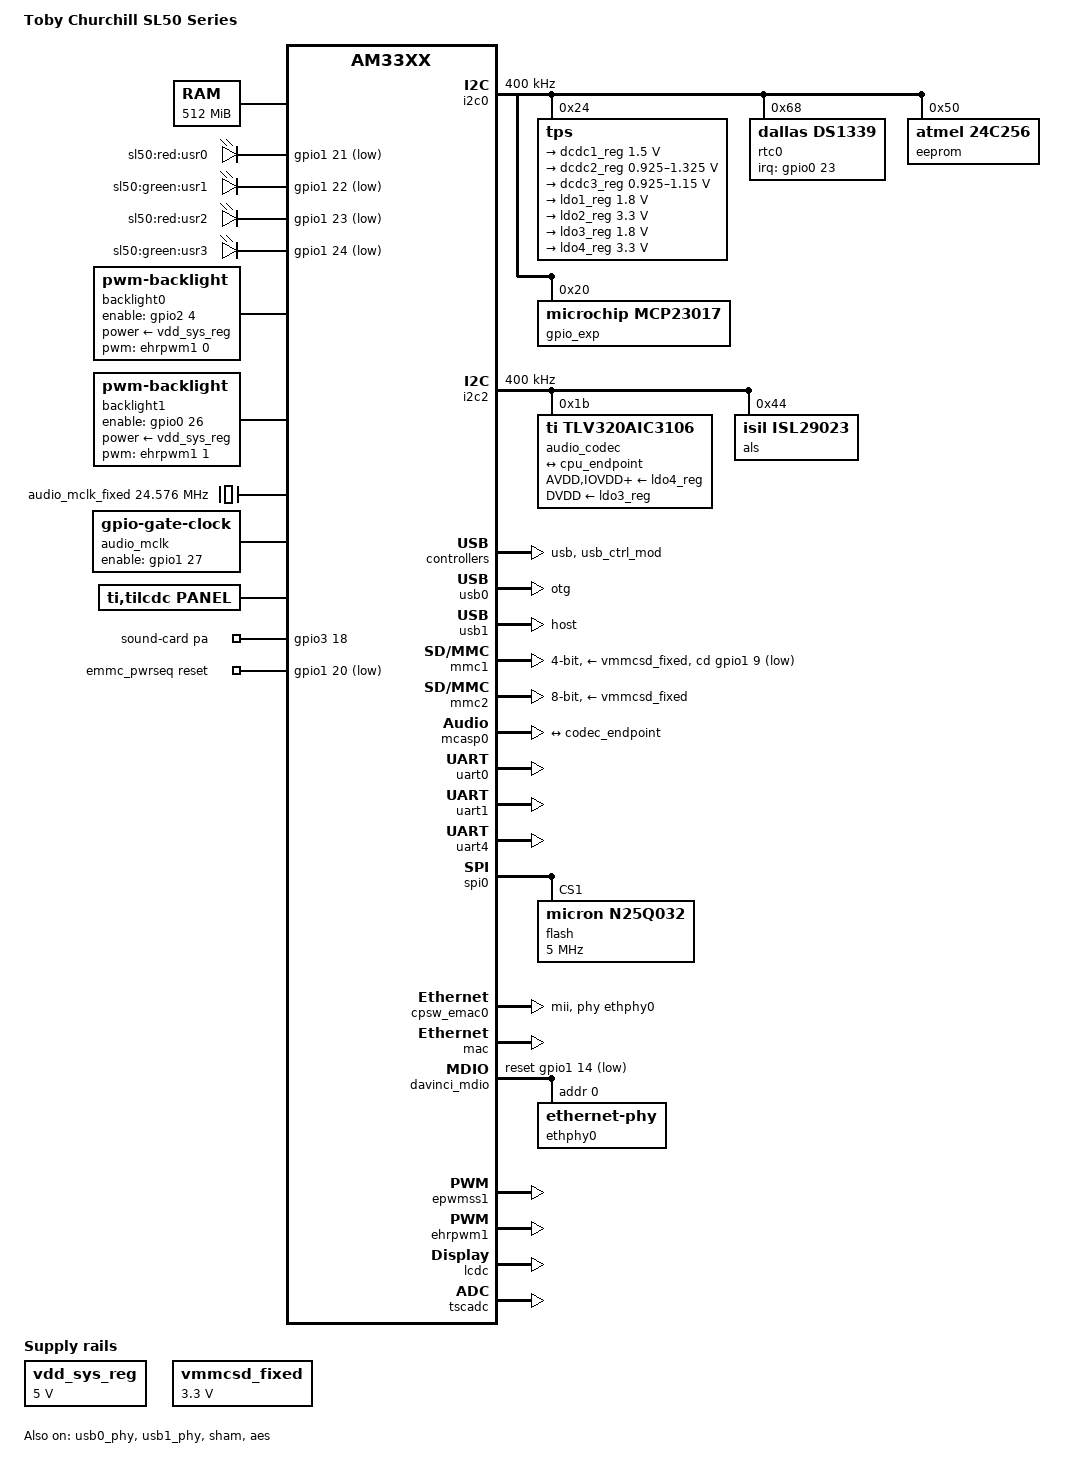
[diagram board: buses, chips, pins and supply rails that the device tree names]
/*
 * Copyright (C) 2015 Toby Churchill - http://www.toby-churchill.com/
 *
 * This program is free software; you can redistribute it and/or modify
 * it under the terms of the GNU General Public License version 2 as
 * published by the Free Software Foundation.
 */
/dts-v1/;

#include "am33xx.dtsi"
#include <dt-bindings/pwm/pwm.h>
#include <dt-bindings/interrupt-controller/irq.h>

/ {
	model = "Toby Churchill SL50 Series";
	compatible = "tcl,am335x-sl50", "ti,am33xx";

	cpus {
		cpu@0 {
			cpu0-supply = <&dcdc2_reg>;
		};
	};

	memory@80000000 {
		device_type = "memory";
		reg = <0x80000000 0x20000000>; /* 512 MB */
	};

	chosen {
		stdout-path = &uart0;
	};

	leds {
		compatible = "gpio-leds";
		pinctrl-names = "default";
		pinctrl-0 = <&led_pins>;

		led0 {
			label = "sl50:red:usr0";
			gpios = <&gpio1 21 GPIO_ACTIVE_LOW>;
			default-state = "off";
		};

		led1 {
			label = "sl50:green:usr1";
			gpios = <&gpio1 22 GPIO_ACTIVE_LOW>;
			default-state = "off";
		};

		led2 {
			label = "sl50:red:usr2";
			gpios = <&gpio1 23 GPIO_ACTIVE_LOW>;
			default-state = "off";
		};

		led3 {
			label = "sl50:green:usr3";
			gpios = <&gpio1 24 GPIO_ACTIVE_LOW>;
			default-state = "off";
		};
	};

	backlight0: disp0 {
		compatible = "pwm-backlight";
		pinctrl-names = "default";
		pinctrl-0 = <&backlight0_pins>;
		pwms = <&ehrpwm1 0 500000 PWM_POLARITY_INVERTED>;
		brightness-levels = < 0  1  2  3  4  5  6  7  8  9
				     10 11 12 13 14 15 16 17 18 19
				     20 21 22 23 24 25 26 27 28 29
				     30 31 32 33 34 35 36 37 38 39
				     40 41 42 43 44 45 46 47 48 49
				     50 51 52 53 54 55 56 57 58 59
				     60 61 62 63 64 65 66 67 68 69
				     70 71 72 73 74 75 76 77 78 79
				     80 81 82 83 84 85 86 87 88 89
				     90 91 92 93 94 95 96 97 98 99
				    100>;
		default-brightness-level = <50>;
		enable-gpios = <&gpio2 4 GPIO_ACTIVE_HIGH>;
		power-supply = <&vdd_sys_reg>;
	};

	backlight1: disp1 {
		compatible = "pwm-backlight";
		pinctrl-names = "default";
		pinctrl-0 = <&backlight1_pins>;
		pwms = <&ehrpwm1 1 500000 PWM_POLARITY_INVERTED>;
		brightness-levels = < 0  1  2  3  4  5  6  7  8  9
				     10 11 12 13 14 15 16 17 18 19
				     20 21 22 23 24 25 26 27 28 29
				     30 31 32 33 34 35 36 37 38 39
				     40 41 42 43 44 45 46 47 48 49
				     50 51 52 53 54 55 56 57 58 59
				     60 61 62 63 64 65 66 67 68 69
				     70 71 72 73 74 75 76 77 78 79
				     80 81 82 83 84 85 86 87 88 89
				     90 91 92 93 94 95 96 97 98 99
				    100>;
		default-brightness-level = <50>;
		enable-gpios = <&gpio0 26 GPIO_ACTIVE_HIGH>;
		power-supply = <&vdd_sys_reg>;
	};

	clocks {
		compatible = "simple-bus";
		#address-cells = <1>;
		#size-cells = <0>;

		/* audio external oscillator */
		audio_mclk_fixed: oscillator@0 {
			compatible = "fixed-clock";
			#clock-cells = <0>;
			clock-frequency  = <24576000>;	/* 24.576MHz */
		};

		audio_mclk: audio_mclk_gate@0 {
			compatible = "gpio-gate-clock";
			#clock-cells = <0>;
			pinctrl-names = "default";
			pinctrl-0 = <&audio_mclk_pins>;
			clocks = <&audio_mclk_fixed>;
			enable-gpios = <&gpio1 27 0>;
		};
	};

	panel: lcd_panel {
		compatible = "ti,tilcdc,panel";
		pinctrl-names = "default";
		pinctrl-0 = <&lcd_pins>;

		panel-info {
			ac-bias = <255>;
			ac-bias-intrpt = <0>;
			dma-burst-sz = <16>;
			bpp = <16>;
			fdd = <0x80>;
			tft-alt-mode = <0>;
			mono-8bit-mode = <0>;
			sync-edge = <0>;
			sync-ctrl = <1>;
			raster-order = <0>;
			fifo-th = <0>;
		};

		display-timings {
			native-mode = <&timing0>;
			timing0: 960x128 {
				clock-frequency = <18000000>;
				hactive = <960>;
				vactive = <272>;

				hback-porch = <40>;
				hfront-porch = <16>;
				hsync-len = <24>;
				hsync-active = <0>;

				vback-porch = <3>;
				vfront-porch = <8>;
				vsync-len = <4>;
				vsync-active = <0>;
			};
		};
	};

	sound {
		compatible = "audio-graph-card";
		label = "sound-card";
		pinctrl-names = "default";
		pinctrl-0 = <&audio_pa_pins>;

		widgets = "Headphone", "Headphone Jack",
			  "Speaker", "Speaker External",
			  "Line", "Line In",
			  "Microphone", "Microphone Jack";

		routing = "Headphone Jack",	"HPLOUT",
			  "Headphone Jack",	"HPROUT",
			  "Amplifier",		"MONO_LOUT",
			  "Speaker External",	"Amplifier",
			  "LINE1R",		"Line In",
			  "LINE1L",		"Line In",
			  "MIC3L",		"Microphone Jack",
			  "MIC3R",		"Microphone Jack",
			  "Microphone Jack",	"Mic Bias";

		dais = <&cpu_port>;

		pa-gpios = <&gpio3 18 GPIO_ACTIVE_HIGH>;
	};

	emmc_pwrseq: pwrseq@0 {
		compatible = "mmc-pwrseq-emmc";
		pinctrl-names = "default";
		pinctrl-0 = <&emmc_pwrseq_pins>;
		reset-gpios = <&gpio1 20 GPIO_ACTIVE_LOW>;
	};

	vdd_sys_reg: regulator@0 {
		compatible = "regulator-fixed";
		regulator-name = "vdd_sys_reg";
		regulator-min-microvolt = <5000000>;
		regulator-max-microvolt = <5000000>;
		regulator-always-on;
	};

	vmmcsd_fixed: fixedregulator0 {
		compatible = "regulator-fixed";
		regulator-name = "vmmcsd_fixed";
		regulator-min-microvolt = <3300000>;
		regulator-max-microvolt = <3300000>;
	};
};

&am33xx_pinmux {
	pinctrl-names = "default";
	pinctrl-0 = <&lwb_pins>;

	audio_pins: pinmux_audio_pins {
		pinctrl-single,pins = <
			AM33XX_IOPAD(0x9ac, PIN_INPUT_PULLDOWN | MUX_MODE0)	/* mcasp0_ahcklx.mcasp0_ahclkx */
			AM33XX_IOPAD(0x994, PIN_INPUT_PULLDOWN | MUX_MODE0)	/* mcasp0_fsx.mcasp0_fsx */
			AM33XX_IOPAD(0x990, PIN_INPUT_PULLDOWN | MUX_MODE0)	/* mcasp0_aclkx.mcasp0_aclkx */
			AM33XX_IOPAD(0x998, PIN_INPUT_PULLDOWN | MUX_MODE0)	/* mcasp0_axr0.mcasp0_axr0 */
			AM33XX_IOPAD(0x99c, PIN_OUTPUT_PULLDOWN | MUX_MODE2)	/* mcasp0_ahclkr.mcasp0_axr2 */
		>;
	};

	audio_pa_pins: pinmux_audio_pa_pins {
		pinctrl-single,pins = <
			AM33XX_IOPAD(0x9a0, PIN_INPUT_PULLDOWN | MUX_MODE7)	/* SoundPA_en - mcasp0_aclkr.gpio3_18 */
		>;
	};

	audio_mclk_pins: pinmux_audio_mclk_pins {
		pinctrl-single,pins = <
			AM33XX_IOPAD(0x86c, PIN_INPUT_PULLDOWN | MUX_MODE7)	/* gpmc_a11.gpio1_27 */
		>;
	};

	backlight0_pins: pinmux_backlight0_pins {
		pinctrl-single,pins = <
			AM33XX_IOPAD(0x898, PIN_OUTPUT | MUX_MODE7)	/* gpmc_wen.gpio2_4 */
		>;
	};

	backlight1_pins: pinmux_backlight1_pins {
		pinctrl-single,pins = <
			AM33XX_IOPAD(0x828, PIN_OUTPUT | MUX_MODE7)     /* gpmc_ad10.gpio0_26 */
		>;
	};

	lcd_pins: pinmux_lcd_pins {
		pinctrl-single,pins = <
			AM33XX_IOPAD(0x8a0, PIN_OUTPUT | MUX_MODE0)	/* lcd_data0.lcd_data0 */
			AM33XX_IOPAD(0x8a4, PIN_OUTPUT | MUX_MODE0)	/* lcd_data1.lcd_data1 */
			AM33XX_IOPAD(0x8a8, PIN_OUTPUT | MUX_MODE0)	/* lcd_data2.lcd_data2 */
			AM33XX_IOPAD(0x8ac, PIN_OUTPUT | MUX_MODE0)	/* lcd_data3.lcd_data3 */
			AM33XX_IOPAD(0x8b0, PIN_OUTPUT | MUX_MODE0)	/* lcd_data4.lcd_data4 */
			AM33XX_IOPAD(0x8b4, PIN_OUTPUT | MUX_MODE0)	/* lcd_data5.lcd_data5 */
			AM33XX_IOPAD(0x8b8, PIN_OUTPUT | MUX_MODE0)	/* lcd_data6.lcd_data6 */
			AM33XX_IOPAD(0x8bc, PIN_OUTPUT | MUX_MODE0)	/* lcd_data7.lcd_data7 */
			AM33XX_IOPAD(0x8c0, PIN_OUTPUT | MUX_MODE0)	/* lcd_data8.lcd_data8 */
			AM33XX_IOPAD(0x8c4, PIN_OUTPUT | MUX_MODE0)	/* lcd_data9.lcd_data9 */
			AM33XX_IOPAD(0x8c8, PIN_OUTPUT | MUX_MODE0)	/* lcd_data10.lcd_data10 */
			AM33XX_IOPAD(0x8cc, PIN_OUTPUT | MUX_MODE0)	/* lcd_data11.lcd_data11 */
			AM33XX_IOPAD(0x8d0, PIN_OUTPUT | MUX_MODE0)	/* lcd_data12.lcd_data12 */
			AM33XX_IOPAD(0x8d4, PIN_OUTPUT | MUX_MODE0)	/* lcd_data13.lcd_data13 */
			AM33XX_IOPAD(0x8d8, PIN_OUTPUT | MUX_MODE0)	/* lcd_data14.lcd_data14 */
			AM33XX_IOPAD(0x8dc, PIN_OUTPUT | MUX_MODE0)	/* lcd_data15.lcd_data15 */
			AM33XX_IOPAD(0x8e0, PIN_OUTPUT_PULLDOWN | MUX_MODE0)	/* lcd_vsync.lcd_vsync */
			AM33XX_IOPAD(0x8e4, PIN_OUTPUT_PULLDOWN | MUX_MODE0)	/* lcd_hsync.lcd_hsync */
			AM33XX_IOPAD(0x8e8, PIN_OUTPUT_PULLDOWN | MUX_MODE0)	/* lcd_pclk.lcd_pclk */
			AM33XX_IOPAD(0x8ec, PIN_OUTPUT_PULLDOWN | MUX_MODE0)	/* lcd_ac_bias_en.lcd_ac_bias_en */
		>;
	};

	led_pins: pinmux_led_pins {
		pinctrl-single,pins = <
			AM33XX_IOPAD(0x854, PIN_OUTPUT | MUX_MODE7)	/* gpmc_a5.gpio1_21 */
			AM33XX_IOPAD(0x858, PIN_OUTPUT | MUX_MODE7)	/* gpmc_a6.gpio1_22 */
			AM33XX_IOPAD(0x85c, PIN_OUTPUT | MUX_MODE7)	/* gpmc_a7.gpio1_23 */
			AM33XX_IOPAD(0x860, PIN_OUTPUT | MUX_MODE7)	/* gpmc_a8.gpio1_24 */
		>;
	};

	uart0_pins: pinmux_uart0_pins {
		pinctrl-single,pins = <
			AM33XX_IOPAD(0x970, PIN_INPUT_PULLUP | MUX_MODE0)	/* uart0_rxd.uart0_rxd */
			AM33XX_IOPAD(0x974, PIN_OUTPUT_PULLDOWN | MUX_MODE0)	/* uart0_txd.uart0_txd */
		>;
	};

	uart1_pins: pinmux_uart1_pins {
		pinctrl-single,pins = <
			AM33XX_IOPAD(0x980, PIN_INPUT_PULLUP | MUX_MODE0)	/* uart1_rxd.uart1_rxd */
			AM33XX_IOPAD(0x984, PIN_OUTPUT_PULLDOWN | MUX_MODE0)	/* uart1_txd.uart1_txd */
		>;
	};

	uart4_pins: pinmux_uart4_pins {
		pinctrl-single,pins = <
			AM33XX_IOPAD(0x870, PIN_INPUT_PULLUP | MUX_MODE6)	/* gpmc_wait0.uart4_rxd */
			AM33XX_IOPAD(0x874, PIN_OUTPUT_PULLDOWN | MUX_MODE6)	/* gpmc_wpn.uart4_txd */
		>;
	};

	i2c0_pins: pinmux_i2c0_pins {
		pinctrl-single,pins = <
			AM33XX_IOPAD(0x988, PIN_INPUT_PULLUP | MUX_MODE0)	/* i2c0_sda.i2c0_sda */
			AM33XX_IOPAD(0x98c, PIN_INPUT_PULLUP | MUX_MODE0)	/* i2c0_scl.i2c0_scl */
		>;
	};

	i2c2_pins: pinmux_i2c2_pins {
		pinctrl-single,pins = <
			AM33XX_IOPAD(0x978, PIN_INPUT_PULLUP | MUX_MODE3)	/* uart1_ctsn.i2c2_sda */
			AM33XX_IOPAD(0x97c, PIN_INPUT_PULLUP | MUX_MODE3)	/* uart1_rtsn.i2c2_scl */
		>;
	};

	cpsw_default: cpsw_default {
		pinctrl-single,pins = <
			/* Slave 1 */
			AM33XX_IOPAD(0x910, PIN_INPUT_PULLUP | MUX_MODE0)	/* mii1_rxerr.mii1_rxerr */
			AM33XX_IOPAD(0x914, PIN_OUTPUT_PULLDOWN | MUX_MODE0)	/* mii1_txen.mii1_txen */
			AM33XX_IOPAD(0x918, PIN_INPUT_PULLUP | MUX_MODE0)	/* mii1_rxdv.mii1_rxdv */
			AM33XX_IOPAD(0x91c, PIN_OUTPUT_PULLDOWN | MUX_MODE0)	/* mii1_txd3.mii1_txd3 */
			AM33XX_IOPAD(0x920, PIN_OUTPUT_PULLDOWN | MUX_MODE0)	/* mii1_txd2.mii1_txd2 */
			AM33XX_IOPAD(0x924, PIN_OUTPUT_PULLDOWN | MUX_MODE0)	/* mii1_txd1.mii1_txd1 */
			AM33XX_IOPAD(0x928, PIN_OUTPUT_PULLDOWN | MUX_MODE0)	/* mii1_txd0.mii1_txd0 */
			AM33XX_IOPAD(0x92c, PIN_INPUT_PULLUP | MUX_MODE0)	/* mii1_txclk.mii1_txclk */
			AM33XX_IOPAD(0x930, PIN_INPUT_PULLUP | MUX_MODE0)	/* mii1_rxclk.mii1_rxclk */
			AM33XX_IOPAD(0x934, PIN_INPUT_PULLUP | MUX_MODE0)	/* mii1_rxd3.mii1_rxd3 */
			AM33XX_IOPAD(0x938, PIN_INPUT_PULLUP | MUX_MODE0)	/* mii1_rxd2.mii1_rxd2 */
			AM33XX_IOPAD(0x93c, PIN_INPUT_PULLUP | MUX_MODE0)	/* mii1_rxd1.mii1_rxd1 */
			AM33XX_IOPAD(0x940, PIN_INPUT_PULLUP | MUX_MODE0)	/* mii1_rxd0.mii1_rxd0 */
		>;
	};

	cpsw_sleep: cpsw_sleep {
		pinctrl-single,pins = <
			/* Slave 1 reset value */
			AM33XX_IOPAD(0x910, PIN_INPUT_PULLDOWN | MUX_MODE7)
			AM33XX_IOPAD(0x914, PIN_INPUT_PULLDOWN | MUX_MODE7)
			AM33XX_IOPAD(0x918, PIN_INPUT_PULLDOWN | MUX_MODE7)
			AM33XX_IOPAD(0x91c, PIN_INPUT_PULLDOWN | MUX_MODE7)
			AM33XX_IOPAD(0x920, PIN_INPUT_PULLDOWN | MUX_MODE7)
			AM33XX_IOPAD(0x924, PIN_INPUT_PULLDOWN | MUX_MODE7)
			AM33XX_IOPAD(0x928, PIN_INPUT_PULLDOWN | MUX_MODE7)
			AM33XX_IOPAD(0x92c, PIN_INPUT_PULLDOWN | MUX_MODE7)
			AM33XX_IOPAD(0x930, PIN_INPUT_PULLDOWN | MUX_MODE7)
			AM33XX_IOPAD(0x934, PIN_INPUT_PULLDOWN | MUX_MODE7)
			AM33XX_IOPAD(0x938, PIN_INPUT_PULLDOWN | MUX_MODE7)
			AM33XX_IOPAD(0x93c, PIN_INPUT_PULLDOWN | MUX_MODE7)
			AM33XX_IOPAD(0x940, PIN_INPUT_PULLDOWN | MUX_MODE7)
		>;
	};

	davinci_mdio_default: davinci_mdio_default {
		pinctrl-single,pins = <
			/* MDIO */
			AM33XX_IOPAD(0x948, PIN_INPUT_PULLUP | SLEWCTRL_FAST | MUX_MODE0)	/* mdio_data.mdio_data */
			AM33XX_IOPAD(0x94c, PIN_OUTPUT_PULLUP | MUX_MODE0)			/* mdio_clk.mdio_clk */
			/* Ethernet */
			AM33XX_IOPAD(0x838, PIN_INPUT_PULLUP | MUX_MODE7)	/* Ethernet_nRST - gpmc_ad14.gpio1_14 */
		>;
	};

	davinci_mdio_sleep: davinci_mdio_sleep {
		pinctrl-single,pins = <
			/* MDIO reset value */
			AM33XX_IOPAD(0x948, PIN_INPUT_PULLDOWN | MUX_MODE7)
			AM33XX_IOPAD(0x94c, PIN_INPUT_PULLDOWN | MUX_MODE7)
		>;
	};

	mmc1_pins: pinmux_mmc1_pins {
		pinctrl-single,pins = <
			AM33XX_IOPAD(0x96c, PIN_INPUT | MUX_MODE7)		/* uart0_rtsn.gpio1_9 */
		>;
	};

	emmc_pwrseq_pins: pinmux_emmc_pwrseq_pins {
		pinctrl-single,pins = <
			AM33XX_IOPAD(0x850, PIN_OUTPUT_PULLUP | MUX_MODE7)	/* gpmc_a4.gpio1_20 */
		>;
	};

	emmc_pins: pinmux_emmc_pins {
		pinctrl-single,pins = <
			AM33XX_IOPAD(0x880, PIN_INPUT_PULLUP | MUX_MODE2)	/* gpmc_csn1.mmc1_clk */
			AM33XX_IOPAD(0x884, PIN_INPUT_PULLUP | MUX_MODE2)	/* gpmc_csn2.mmc1_cmd */
			AM33XX_IOPAD(0x800, PIN_INPUT_PULLUP | MUX_MODE1)	/* gpmc_ad0.mmc1_dat0 */
			AM33XX_IOPAD(0x804, PIN_INPUT_PULLUP | MUX_MODE1)	/* gpmc_ad1.mmc1_dat1 */
			AM33XX_IOPAD(0x808, PIN_INPUT_PULLUP | MUX_MODE1)	/* gpmc_ad2.mmc1_dat2 */
			AM33XX_IOPAD(0x80c, PIN_INPUT_PULLUP | MUX_MODE1)	/* gpmc_ad3.mmc1_dat3 */
			AM33XX_IOPAD(0x810, PIN_INPUT_PULLUP | MUX_MODE1)	/* gpmc_ad4.mmc1_dat4 */
			AM33XX_IOPAD(0x814, PIN_INPUT_PULLUP | MUX_MODE1) 	/* gpmc_ad5.mmc1_dat5 */
			AM33XX_IOPAD(0x818, PIN_INPUT_PULLUP | MUX_MODE1)	/* gpmc_ad6.mmc1_dat6 */
			AM33XX_IOPAD(0x81c, PIN_INPUT_PULLUP | MUX_MODE1)	/* gpmc_ad7.mmc1_dat7 */
		>;
	};

	ehrpwm1_pins: pinmux_ehrpwm1a_pins {
		pinctrl-single,pins = <
			AM33XX_IOPAD(0x848, PIN_OUTPUT | MUX_MODE6)	/* gpmc_a2.ehrpwm1a */
			AM33XX_IOPAD(0x84c, PIN_OUTPUT | MUX_MODE6)	/* gpmc_a3.ehrpwm1b */
		>;
	};

	rtc0_irq_pins: pinmux_rtc0_irq_pins {
		pinctrl-single,pins = <
			AM33XX_IOPAD(0x824, PIN_INPUT_PULLUP | MUX_MODE7)     /* gpmc_ad9.gpio0_23 */
		>;
	};

	spi0_pins: pinmux_spi0_pins {
		pinctrl-single,pins = <
			AM33XX_IOPAD(0x954, PIN_INPUT_PULLUP | MUX_MODE0)	/* SPI0_MOSI - spi0_d0.spi0_d0 */
			AM33XX_IOPAD(0x958, PIN_INPUT_PULLUP | MUX_MODE0)	/* SPI0_MISO - spi0_d1.spi0_d1 */
			AM33XX_IOPAD(0x950, PIN_INPUT_PULLUP | MUX_MODE0)	/* SPI0_CLK  - spi0_clk.spi0_clk */
			AM33XX_IOPAD(0x95c, PIN_INPUT_PULLUP | MUX_MODE0)	/* SPI0_CS0 (NBATTSS) - spi0_cs0.spi0_cs0 */
			AM33XX_IOPAD(0x960, PIN_INPUT_PULLUP | MUX_MODE0)	/* SPI0_CS1 (FPGA_FLASH_NCS) - spi0_cs1.spi0_cs1 */
		>;
	};

	lwb_pins: pinmux_lwb_pins {
		pinctrl-single,pins = <
			AM33XX_IOPAD(0x830, PIN_INPUT_PULLUP | MUX_MODE7)	/* nKbdInt - gpmc_ad12.gpio1_12 */
			AM33XX_IOPAD(0x834, PIN_INPUT_PULLUP | MUX_MODE7)	/* nKbdReset - gpmc_ad13.gpio1_13 */
			AM33XX_IOPAD(0x844, PIN_INPUT_PULLUP | MUX_MODE7)	/* USB1_enPower - gpmc_a1.gpio1_17 */
			/* PDI Bus - Battery system */
			AM33XX_IOPAD(0x840, PIN_INPUT_PULLUP | MUX_MODE7)	/* nBattReset  gpmc_a0.gpio1_16 */
			AM33XX_IOPAD(0x83c, PIN_INPUT_PULLUP | MUX_MODE7)	/* BattPDIData gpmc_ad15.gpio1_15 */
			/* FPGA */
			AM33XX_IOPAD(0x820, PIN_INPUT_PULLUP | MUX_MODE7)	/* FPGA_DONE - gpmc_ad8.gpio0_22 */
			AM33XX_IOPAD(0x840, PIN_INPUT_PULLUP | MUX_MODE7)	/* FPGA_NRST - gpmc_a0.gpio1_16 */
			AM33XX_IOPAD(0x844, PIN_INPUT_PULLDOWN | MUX_MODE7)	/* FPGA_RUN - gpmc_a1.gpio1_17 */
			AM33XX_IOPAD(0x864, PIN_INPUT_PULLUP | MUX_MODE7)	/* ENFPGA - gpmc_a9.gpio1_25 */
			AM33XX_IOPAD(0x868, PIN_INPUT_PULLDOWN | MUX_MODE7)	/* FPGA_PROGRAM - gpmc_a10.gpio1_26 */
		>;
	};
};

&i2c0 {
	status = "okay";
	pinctrl-names = "default";
	pinctrl-0 = <&i2c0_pins>;

	clock-frequency = <400000>;

	tps: tps@24 {
		reg = <0x24>;
	};

	rtc0: rtc@68 {
		compatible = "dallas,ds1339";
		pinctrl-names = "default";
		pinctrl-0 = <&rtc0_irq_pins>;
		interrupt-parent = <&gpio0>;
		interrupts = <23 IRQ_TYPE_EDGE_FALLING>; /* gpio 23 */
		wakeup-source;
		trickle-resistor-ohms = <2000>;
		reg = <0x68>;
	};

	eeprom: eeprom@50 {
		compatible = "atmel,24c256";
		reg = <0x50>;
	};

	gpio_exp: mcp23017@20 {
		compatible = "microchip,mcp23017";
		reg = <0x20>;
	};

};

&i2c2 {
	status = "okay";
	pinctrl-names = "default";
	pinctrl-0 = <&i2c2_pins>;

	clock-frequency = <400000>;

	audio_codec: tlv320aic3106@1b {
		status = "okay";
		compatible = "ti,tlv320aic3106";
		#sound-dai-cells = <0>;
		reg = <0x1b>;
		ai3x-micbias-vg = <2>;  /* 2.5V */

		AVDD-supply = <&ldo4_reg>;
		IOVDD-supply = <&ldo4_reg>;
		DRVDD-supply = <&ldo4_reg>;
		DVDD-supply = <&ldo3_reg>;

		codec_port: port {
			codec_endpoint: endpoint {
				remote-endpoint = <&cpu_endpoint>;
				clocks = <&audio_mclk>;
			};
		};
	};

	/* Ambient Light Sensor */
	als: isl29023@44 {
		compatible = "isil,isl29023";
		reg = <0x44>;
	};
};

&rtc {
	status = "disabled";
};

&usb {
	status = "okay";
};

&usb_ctrl_mod {
	status = "okay";
};

&usb0_phy {
	status = "okay";
};

&usb1_phy {
	status = "okay";
};

&usb0 {
	status = "okay";
	dr_mode = "otg";
};

&usb1 {
	status = "okay";
	dr_mode = "host";
};

&cppi41dma  {
	status = "okay";
};

&mmc1 {
	status = "okay";
	pinctrl-names = "default";
	pinctrl-0 = <&mmc1_pins>;
	bus-width = <4>;
	cd-gpios = <&gpio1 9 GPIO_ACTIVE_LOW>;
	vmmc-supply = <&vmmcsd_fixed>;
};

&mmc2 {
	status = "okay";
	pinctrl-names = "default";
	pinctrl-0 = <&emmc_pins>;
	bus-width = <8>;
	vmmc-supply = <&vmmcsd_fixed>;
	mmc-pwrseq = <&emmc_pwrseq>;
};

&mcasp0 {
	status = "okay";
	pinctrl-names = "default";
	pinctrl-0 = <&audio_pins>;
	#sound-dai-cells = <0>;
	op-mode = <0>;  /* MCASP_ISS_MODE */
	tdm-slots = <2>;
	/* 4 serializers */
	serial-dir = <  /* 0: INACTIVE, 1: TX, 2: RX */
		0 0 1 2
	>;
	tx-num-evt = <32>;
	rx-num-evt = <32>;

	cpu_port: port {
		cpu_endpoint: endpoint {
			remote-endpoint = <&codec_endpoint>;

			dai-format = "dsp_b";
			bitclock-master = <&codec_port>;
			frame-master = <&codec_port>;
			bitclock-inversion;
			clocks = <&audio_mclk>;
		};
	};
};

&uart0 {
	status = "okay";
	pinctrl-names = "default";
	pinctrl-0 = <&uart0_pins>;
};

&uart1 {
	status = "okay";
	pinctrl-names = "default";
	pinctrl-0 = <&uart1_pins>;
};

&uart4 {
	status = "okay";
	pinctrl-names = "default";
	pinctrl-0 = <&uart4_pins>;
};

&spi0 {
	status = "okay";
	pinctrl-names = "default";
	pinctrl-0 = <&spi0_pins>;

	flash: n25q032@1 {
		#address-cells = <1>;
		#size-cells = <1>;
		compatible = "micron,n25q032";
		reg = <1>;
		spi-max-frequency = <5000000>;
	};
};

#include "tps65217.dtsi"

&tps {
	ti,pmic-shutdown-controller;

	interrupt-parent = <&intc>;
	interrupts = <7>;	/* NNMI */

	regulators {
		dcdc1_reg: regulator@0 {
			/* VDDS_DDR */
			regulator-min-microvolt = <1500000>;
			regulator-max-microvolt = <1500000>;
			regulator-always-on;
		};

		dcdc2_reg: regulator@1 {
			/* VDD_MPU voltage limits 0.95V - 1.26V with +/-4% tolerance */
			regulator-name = "vdd_mpu";
			regulator-min-microvolt = <925000>;
			regulator-max-microvolt = <1325000>;
			regulator-boot-on;
			regulator-always-on;
		};

		dcdc3_reg: regulator@2 {
			/* VDD_CORE voltage limits 0.95V - 1.1V with +/-4% tolerance */
			regulator-name = "vdd_core";
			regulator-min-microvolt = <925000>;
			regulator-max-microvolt = <1150000>;
			regulator-boot-on;
			regulator-always-on;
		};

		ldo1_reg: regulator@3 {
			/* VRTC / VIO / VDDS*/
			regulator-always-on;
			regulator-min-microvolt = <1800000>;
			regulator-max-microvolt = <1800000>;
		};

		ldo2_reg: regulator@4 {
			/* VDD_3V3AUX */
			regulator-always-on;
			regulator-min-microvolt = <3300000>;
			regulator-max-microvolt = <3300000>;
		};

		ldo3_reg: regulator@5 {
			/* VDD_1V8 */
			regulator-min-microvolt = <1800000>;
			regulator-max-microvolt = <1800000>;
			regulator-always-on;
		};

		ldo4_reg: regulator@6 {
			/* VDD_3V3A */
			regulator-min-microvolt = <3300000>;
			regulator-max-microvolt = <3300000>;
			regulator-always-on;
		};
	};
};

&cpsw_emac0 {
	phy-mode = "mii";
	phy-handle = <&ethphy0>;
};

&mac {
	status = "okay";
	pinctrl-names = "default", "sleep";
	pinctrl-0 = <&cpsw_default>;
	pinctrl-1 = <&cpsw_sleep>;
};

&davinci_mdio {
	status = "okay";
	pinctrl-names = "default", "sleep";
	pinctrl-0 = <&davinci_mdio_default>;
	pinctrl-1 = <&davinci_mdio_sleep>;
	reset-gpios = <&gpio1 14 GPIO_ACTIVE_LOW>;
	reset-delay-us = <100>;   /* PHY datasheet states 100us min */

	ethphy0: ethernet-phy@0 {
		reg = <0>;
	};
};

&sham {
	status = "okay";
};

&aes {
	status = "okay";
};

&epwmss1 {
	status = "okay";
};

&ehrpwm1 {
	status = "okay";
	pinctrl-names = "default";
	pinctrl-0 = <&ehrpwm1_pins>;
};

&lcdc {
	status = "okay";
};

&tscadc {
	status = "okay";
};

&am335x_adc {
	ti,adc-channels = <0 1 2 3 4 5 6 7>;
};
